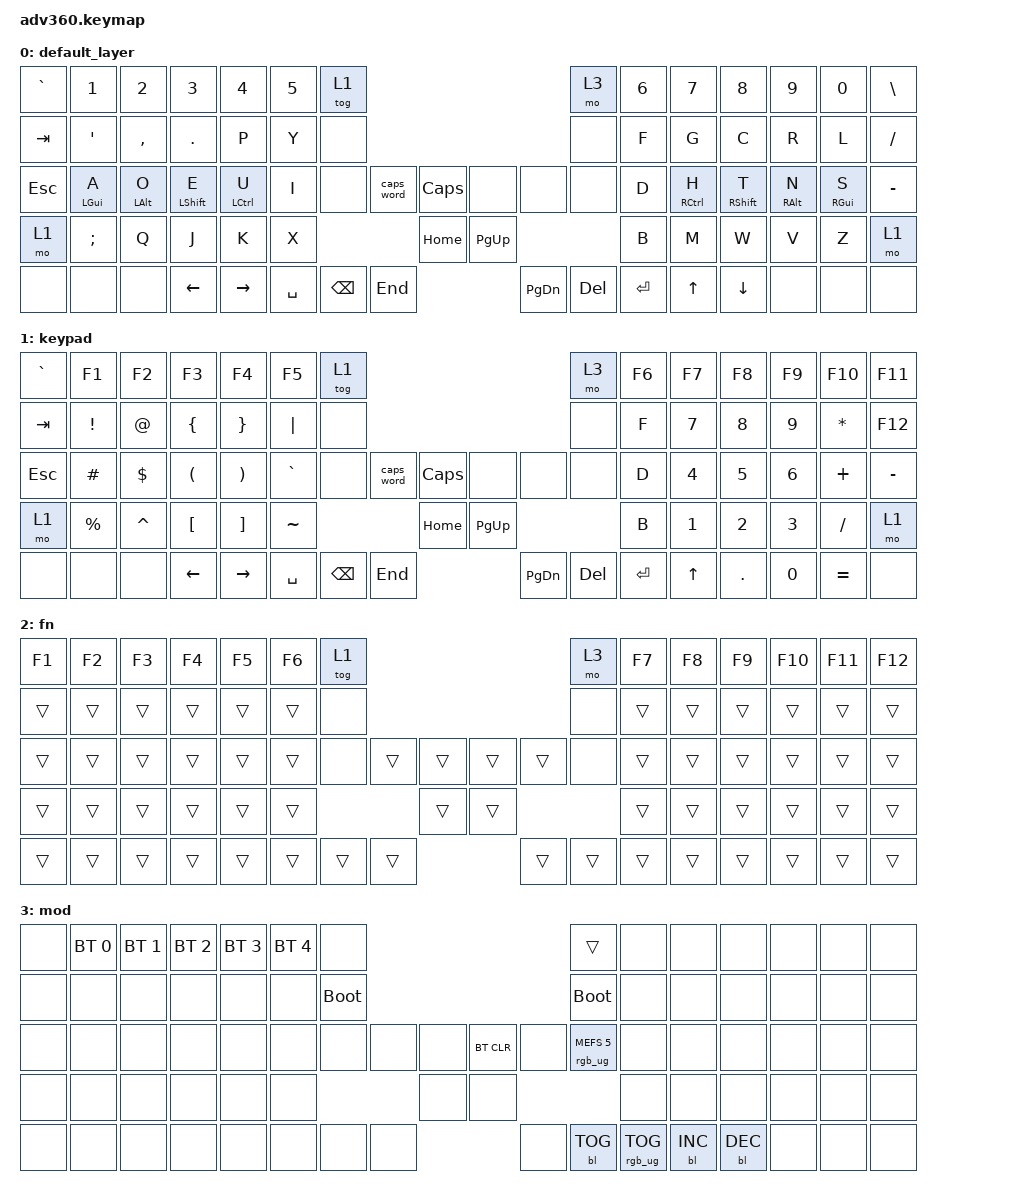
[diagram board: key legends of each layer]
#include <behaviors.dtsi>
#include <dt-bindings/zmk/keys.h>
#include <dt-bindings/zmk/bt.h>
#include <dt-bindings/zmk/rgb.h>
#include <dt-bindings/zmk/backlight.h>

/ {
    behaviors {
      #include "macros.dtsi"
      #include "version.dtsi"
      #ifndef VERSION_MACRO
      macro_ver: macro_ver {
        compatible = "zmk,behavior-macro";
        label = "macro_version";
        #binding-cells = <0>;
        bindings = <&kp RET>;
      };
      #endif

      hm: homerow_mods {
          compatible = "zmk,behavior-hold-tap";
          label = "HOMEROW_MODS";
          #binding-cells = <2>;
          tapping-term-ms = <200>;
          quick_tap_ms = <175>;
          flavor = "tap-preferred";
          bindings = <&kp>, <&kp>;
      };
    };

  keymap {
    compatible = "zmk,keymap";

    default_layer {
      bindings = <
        &kp GRAVE &kp N1    	&kp N2   	&kp N3   	&kp N4     	&kp N5 		&tog 1                                                                       			&mo 3 	&kp N6 	&kp N7 		&kp N8    	&kp N9   	&kp N0   	&kp BSLH
        &kp TAB   &kp SQT   	&kp COMMA   	&kp DOT    	&kp P      	&kp Y  		&none                                                                        			&none 	&kp F  	&kp G  		&kp C     	&kp R    	&kp L    	&kp FSLH
        &kp ESC   &hm LGUI A    &hm LALT O   	&hm LSHFT E    	&hm LCTRL U     &kp I  		&none            		&caps_word &kp CAPS &none 	&none           		&none 	&kp D   &hm RCTRL H  	&hm RSHFT T 	&hm RALT N    	&hm RGUI S 	&kp MINUS
        &mo 1 	  &kp SEMI	&kp Q    	&kp J    	&kp K     	&kp X         				     		   &kp HOME &kp PG_UP 						&kp B  	&kp M  		&kp W 		&kp V 		&kp Z 		&mo 1
        &none     &none 	&none 	 	&kp LEFT 	&kp RIGHT                			&kp SPACE 	&kp BSPC   &kp END  &kp PG_DN &kp DEL 	&kp ENTER              			&kp UP 		&kp DOWN  	&none 		&none 		&none
      >;
    };
    keypad {
      bindings = <
        &kp GRAVE &kp F1    	&kp F2   	&kp F3   	&kp F4     	&kp F5 		&tog 1                                                                       			&mo 3 	&kp F6 	&kp F7 		&kp F8    	&kp F9   	&kp F10   	&kp F11
        &kp TAB   &kp EXCL   	&kp AT   	&kp LBRC    	&kp RBRC      	&kp PIPE  	&none                                                                        			&none 	&kp F  	&kp N7   	&kp N8     	&kp N9    	&kp ASTRK    	&kp F12
        &kp ESC   &kp HASH 	&kp DOLLAR   	&kp LPAR    	&kp RPAR 	&kp GRAVE  	&none            		&caps_word &kp CAPS &none 	&none           		&none 	&kp D   &kp N4   	&kp N5  	&kp N6     	&kp PLUS 	&kp MINUS 
        &mo 1 	  &kp PERCENT	&kp CARET    	&kp LBKT    	&kp RBKT     	&kp TILDE         					   &kp HOME &kp PG_UP 						&kp B  	&kp N1  	&kp N2 		&kp N3 		&kp FSLH 	&mo 1
        &none     &none 	&none 	 	&kp LEFT 	&kp RIGHT                			&kp SPACE 	&kp BSPC   &kp END  &kp PG_DN &kp DEL 	&kp ENTER              			&kp UP 		&kp DOT 	&kp N0 		&kp EQUAL 	&none
      >;
    };
    fn {
      bindings = <
        &kp F1 &kp F2 &kp F3 &kp F4 &kp F5 &kp F6 &tog 1                                           &mo 3 &kp F7 &kp F8 &kp F9 &kp F10 &kp F11 &kp F12
        &trans &trans &trans &trans &trans &trans  &none                                           &none &trans &trans &trans &trans  &trans  &trans
        &trans &trans &trans &trans &trans &trans  &none        &trans &trans &trans &trans        &none &trans &trans &trans &trans  &trans  &trans
        &trans &trans &trans &trans &trans &trans                      &trans &trans                     &trans &trans &trans &trans  &trans  &trans
        &trans &trans &trans &trans &trans               &trans &trans &trans &trans &trans &trans              &trans &trans &trans  &trans  &trans
      >;
    };
    mod {
      bindings = <
        &none &bt BT_SEL 0 &bt BT_SEL 1 &bt BT_SEL 2 &bt BT_SEL 3 &bt BT_SEL 4 &none                                                                     &trans                 &none        &none        &none        &none &none &none
        &none &none        &none        &none        &none        &none        &bootloader                                                               &bootloader            &none        &none        &none        &none &none &none
        &none &none        &none        &none        &none        &none        &none                   &none &none &bt BT_CLR &none                      &rgb_ug RGB_MEFS_CMD 5 &none        &none        &none        &none &none &none
        &none &none        &none        &none        &none        &none                                      &none &none                                                        &none        &none        &none        &none &none &none
        &none &none        &none        &none        &none                                       &none &none &none &none      &bl BL_TOG &rgb_ug RGB_TOG                                     &bl BL_INC   &bl BL_DEC   &none &none &none
      >;
    };
  };
};
